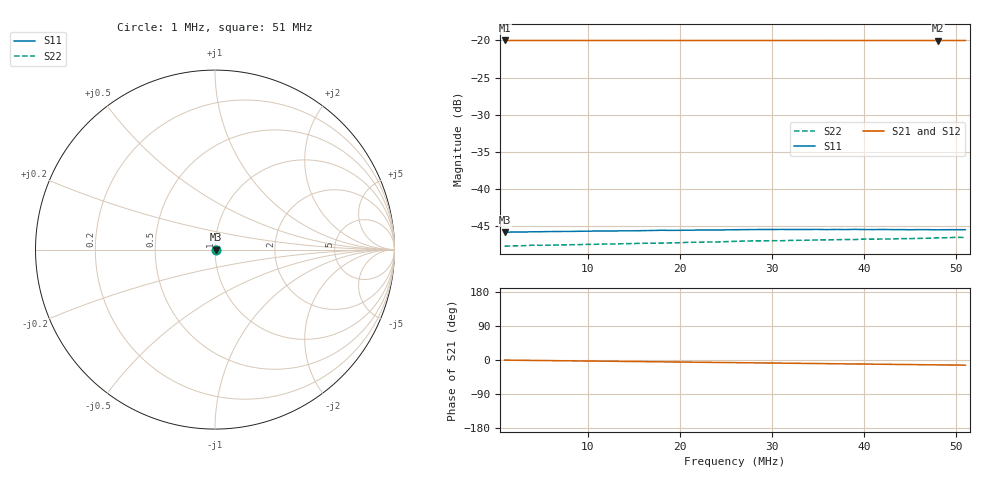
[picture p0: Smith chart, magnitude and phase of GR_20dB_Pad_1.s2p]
# MHz S RI R 50
! S-Parameters data
! Freq  reS11  imS11  reS21  imS21  reS12  imS12  reS22  imS22
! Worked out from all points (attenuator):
!   51 points, 1 MHz to 51 MHz, reference 50 ohm
!   highest |S21| = -20.02 dB at 1 MHz (marker M1); lowest = -20.0 dB at 48 MHz (marker M2)
!   lowest |S11| = -45.8 dB at 1 MHz (marker M3), VSWR 1.01, Z = 50.5 + j0.00361 ohm
!   |S11| at or under -10 dB: start of sweep to end of sweep
!   |S22| runs from -47.7 to -46.5 dB; largest |S21 - S12| = 3.2e-05
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1  0.00513 3.58e-05  0.0998 -0.000496  0.0998 -0.000481  0.00414 4.39e-05
4  0.00517 6.94e-05  0.0998 -0.00188  0.0998 -0.0019  0.0042 0.00013
6  0.00519 8.39e-05  0.0998 -0.00282  0.0997 -0.00282  0.0042 0.000168
10  0.00522 9.01e-05  0.0997 -0.00465  0.0997 -0.00467  0.00425 0.00024
15  0.00525 0.000101  0.0995 -0.00698  0.0995 -0.007  0.0043 0.000304
18  0.00529 9.16e-05  0.0994 -0.00839  0.0994 -0.00839  0.00432 0.000338
21  0.0053 8.92e-05  0.0993 -0.00978  0.0993 -0.00978  0.00438 0.000374
24  0.0053 6.6e-05  0.0991 -0.0111  0.0991 -0.0112  0.0044 0.000407
26  0.00533 7.75e-05  0.099 -0.0121  0.0991 -0.0121  0.00444 0.000427
28  0.00535 5.65e-05  0.0989 -0.013  0.0989 -0.013  0.00447 0.000437
31  0.00536 2.46e-05  0.0987 -0.0144  0.0987 -0.0144  0.00447 0.000481
35  0.00536 1.62e-05  0.0984 -0.0162  0.0984 -0.0162  0.00453 0.000527
36  0.00534 1.17e-05  0.0984 -0.0167  0.0984 -0.0167  0.00453 0.000521
37  0.00536 -3.81e-06  0.0983 -0.0171  0.0983 -0.0172  0.00454 0.000545
38  0.00535 -9.3e-06  0.0982 -0.0176  0.0982 -0.0176  0.00456 0.000556
39  0.00537 -2.38e-05  0.0981 -0.0181  0.0981 -0.0181  0.00455 0.000579
40  0.00535 -2.29e-05  0.098 -0.0185  0.098 -0.0185  0.00458 0.000585
43  0.00534 -4.46e-05  0.0977 -0.0199  0.0978 -0.0199  0.00458 0.000614
47  0.00534 -7.68e-05  0.0974 -0.0217  0.0974 -0.0217  0.00463 0.000653
48  0.00533 -8.42e-05  0.0973 -0.0222  0.0973 -0.0222  0.00466 0.000664
50  0.00534 -9.82e-05  0.097 -0.0231  0.0971 -0.0231  0.00469 0.000688
51  0.00534 -0.000116  0.0969 -0.0235  0.0969 -0.0235  0.00468 0.000697
